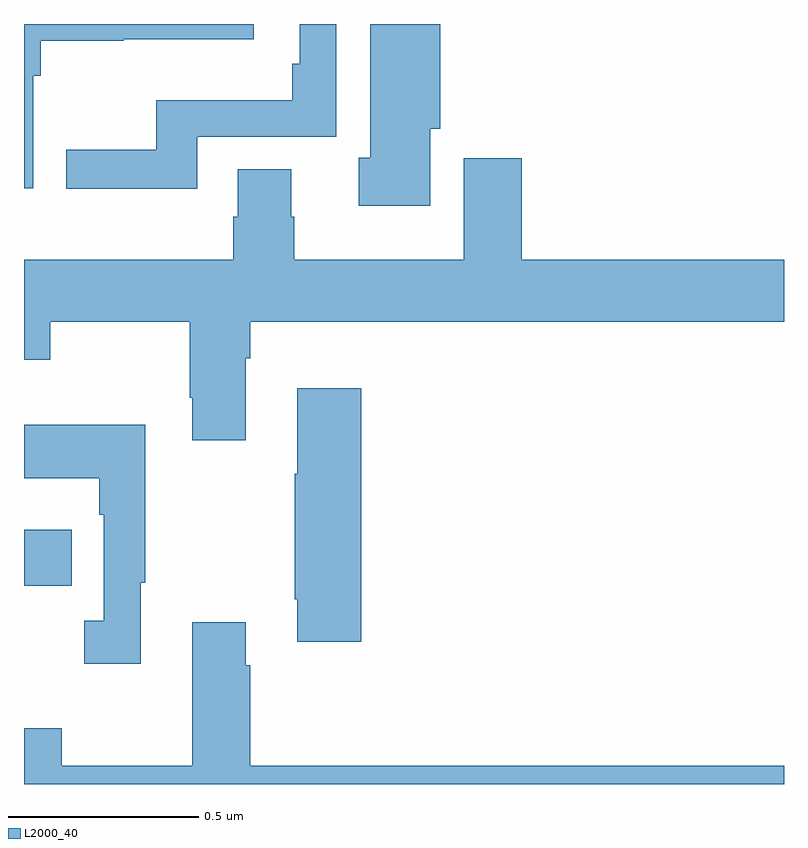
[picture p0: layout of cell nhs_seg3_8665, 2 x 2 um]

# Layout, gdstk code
import gdstk
lib = gdstk.Library(unit=1e-6, precision=1e-09)
def R(c, l, rs):  # rectangles x0, y0, x1, y1
    for r in rs: c.add(gdstk.rectangle(r[:2], r[2:], *l))
def P(c, l, *ps):  # polygons
    for p in ps: c.add(gdstk.Polygon(p, *l))
L2000_40 = (2000, 40)

nhs_seg3_8665 = lib.new_cell('nhs_seg3_8665')
R(nhs_seg3_8665, L2000_40, [(219,666.922,219.125,667.069)])
P(nhs_seg3_8665, L2000_40, [(219.024,668.264),(219.044,668.264),(219.044,668.356),(219.263,668.356),(219.263,668.36),(219.604,668.36),(219.604,668.4),(219,668.4),(219,667.968),(219.024,667.968)],
  [(219.456,668.103),(219.822,668.103),(219.822,668.4),(219.726,668.4),(219.726,668.296),(219.706,668.296),(219.706,668.2),(219.348,668.2),(219.348,668.069),(219.111,668.069),(219.111,667.967),(219.456,667.967)],
  [(220.069,668.124),(220.096,668.124),(220.096,668.4),(219.911,668.4),(219.911,668.048),(219.881,668.048),(219.881,667.922),(220.069,667.922)],
  [(219.583,667.52),(219.596,667.52),(219.596,667.616),(221,667.616),(221,667.78),(220.31,667.78),(220.31,668.047),(220.157,668.047),(220.157,667.78),(219.711,667.78),(219.711,667.893),(219.703,667.893),(219.703,668.018),(219.563,668.018),(219.563,667.893),(219.551,667.893),(219.551,667.78),(219,667.78),(219,667.517),(219.069,667.517),(219.069,667.616),(219.436,667.616),(219.436,667.417),(219.443,667.417),(219.443,667.305),(219.583,667.305)],
  [(219.887,667.441),(219.719,667.441),(219.719,667.217),(219.712,667.217),(219.712,666.886),(219.719,666.886),(219.719,666.774),(219.887,666.774)],
  [(219.307,666.929),(219.319,666.929),(219.319,667.345),(219,667.345),(219,667.205),(219.198,667.205),(219.198,667.109),(219.21,667.109),(219.21,666.83),(219.159,666.83),(219.159,666.717),(219.307,666.717)],
  [(221,666.448),(219.596,666.448),(219.596,666.713),(219.583,666.713),(219.583,666.826),(219.443,666.826),(219.443,666.448),(219.099,666.448),(219.099,666.547),(219,666.547),(219,666.4),(221,666.4)])

lib.write_gds('nhs_seg3_8665.gds')
